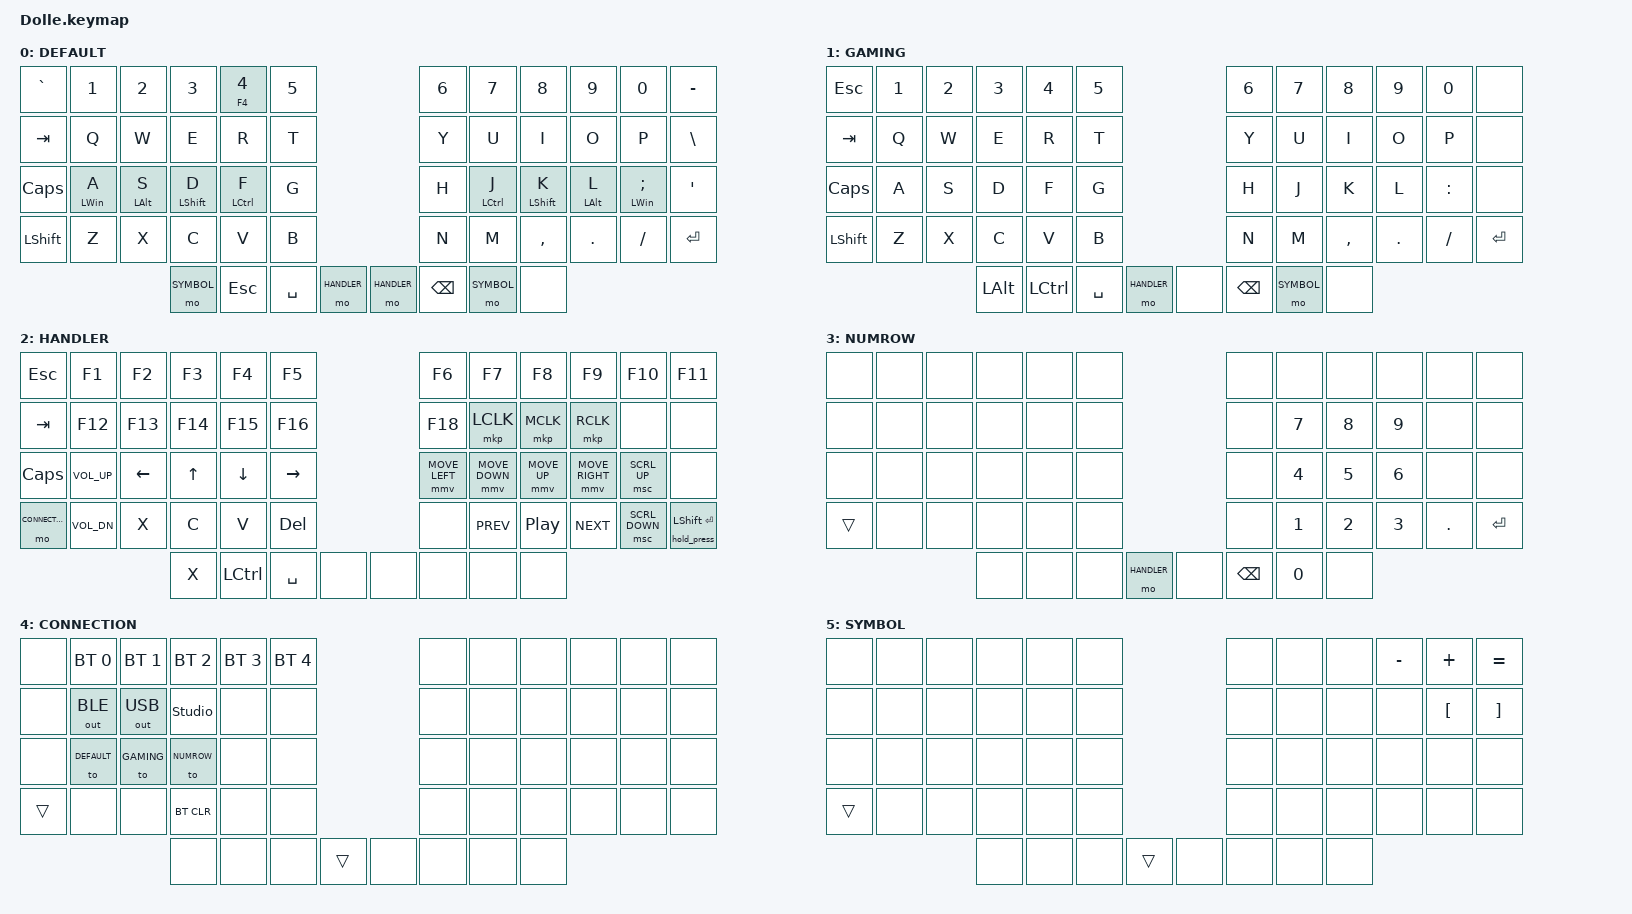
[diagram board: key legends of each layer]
/*
 * Copyright (c) 2022 The ZMK Contributors
 *
 * SPDX-License-Identifier: MIT
 */

#include <behaviors.dtsi>
#include <dt-bindings/zmk/keys.h>
#include <dt-bindings/zmk/bt.h>
#include <dt-bindings/zmk/outputs.h>

#include <dt-bindings/zmk/pointing.h>
#include <dt-bindings/zmk/mouse.h>
#include <behaviors/mouse_keys.dtsi>
#define ZMK_POINTING_DEFAULT_MOVE_VAL 4000  // default: 600
#define ZMK_POINTING_DEFAULT_SCRL_VAL 20    // default: 10

#define DEFAULT 0
#define GAMING 1
#define HANDLER 2
#define NUMROW 3
#define CONNECTION 4
#define SYMBOL 5
&mt {
    tapping-term-ms = <400>;
};
/ {
    behaviors {
        pht: positional_hold_tap {
            compatible = "zmk,behavior-hold-tap";
            #binding-cells = <2>;
            tapping-term-ms = <200>;
            quick-tap-ms = <0>;
            flavor = "tap-preferred";
            bindings = <&kp>, <&kp>;
        };
    };

    keymap {
        compatible = "zmk,keymap";

        DEFAULT {
            bindings = <
&kp GRAVE       &kp N1          &kp N2          &kp N3              &mt F4 N4           &kp N5                                      &kp N6          &kp N7          &kp N8          &kp N9          &kp N0          &kp MINUS
&kp TAB         &kp Q           &kp W           &kp E               &kp R               &kp T                                       &kp Y           &kp U           &kp I           &kp O           &kp P           &kp BSLH
&kp CAPS        &pht LWIN A     &pht LALT S     &pht LSHIFT D       &pht LCTL F         &kp G                                       &kp H           &pht LCTL J     &pht LSHIFT K   &pht LALT L     &pht LWIN SEMI  &kp APOS
&kp LSHIFT      &kp Z           &kp X           &kp C               &kp V               &kp B                                       &kp N           &kp M           &kp COMMA       &kp PERIOD      &kp SLASH       &kp ENTER
                                                &mo SYMBOL          &kp ESC             &kp SPACE       &mo HANDLER     &mo HANDLER &kp BACKSPACE   &mo SYMBOL      &none 


            >;
        };
        
        GAMING {
            bindings = <
&kp ESC         &kp N1          &kp N2          &kp N3              &kp N4              &kp N5                                      &kp N6          &kp N7          &kp N8          &kp N9           &kp N0         &none
&kp TAB         &kp Q           &kp W           &kp E               &kp R               &kp T                                       &kp Y           &kp U           &kp I           &kp O            &kp P          &none
&kp CAPS        &kp A           &kp S           &kp D               &kp F               &kp G                                       &kp H           &kp J           &kp K           &kp L            &kp COLON      &none
&kp LSHIFT      &kp Z           &kp X           &kp C               &kp V               &kp B                                       &kp N           &kp M           &kp COMMA       &kp PERIOD       &kp SLASH      &kp ENTER
                                                &kp LALT            &kp LCTRL           &kp SPACE       &mo HANDLER     &none       &kp BACKSPACE   &mo SYMBOL      &none 
            >;
        };

        HANDLER {
            bindings = <
&kp ESC         &kp F1          &kp F2          &kp F3              &kp F4              &kp F5                                      &kp F6          &kp F7          &kp F8          &kp F9          &kp F10           &kp F11
&kp TAB         &kp F12         &kp F13         &kp F14             &kp F15             &kp F16                                     &kp F18         &mkp LCLK       &mkp MCLK       &mkp RCLK       &none           &none
&kp CAPSLOCK    &kp C_VOL_UP    &kp LEFT_ARROW  &kp UP_ARROW        &kp DOWN_ARROW      &kp RIGHT_ARROW                             &mmv MOVE_LEFT  &mmv MOVE_DOWN  &mmv MOVE_UP    &mmv MOVE_RIGHT &msc SCRL_UP    &none
&mo CONNECTION  &kp C_VOL_DN    &kp X           &kp C               &kp V               &kp DEL                                     &none           &kp C_PREV      &kp C_PP        &kp C_NEXT      &msc SCRL_DOWN  &hold_press LSHIFT ENTER
                                                &kp X               &kp LCTRL           &kp SPACE       &none           &none       &none           &none           &none 
            >;
        };
        NUMROW {
            bindings = <
&none           &none           &none           &none               &none               &none                                       &none           &none            &none            &none            &none           &none
&none           &none           &none           &none               &none               &none                                       &none           &kp N7           &kp N8           &kp N9           &none           &none
&none           &none           &none           &none               &none               &none                                       &none           &kp N4           &kp N5           &kp N6           &none           &none
&trans          &none           &none           &none               &none               &none                                       &none           &kp N1           &kp N2           &kp N3           &kp PERIOD      &kp ENTER
                                                &none               &none               &none           &mo HANDLER     &none       &kp BACKSPACE   &kp N0           &none 
            >; 
        };

        CONNECTION {
            bindings = <
&none           &bt BT_SEL 0    &bt BT_SEL 1    &bt BT_SEL 2        &bt BT_SEL 3        &bt BT_SEL 4                                &none           &none           &none           &none           &none           &none
&none           &out OUT_BLE    &out OUT_USB    &studio_unlock      &none               &none                                       &none           &none           &none           &none           &none           &none
&none           &to DEFAULT     &to GAMING      &to NUMROW          &none               &none                                       &none           &none           &none           &none           &none           &none
&trans          &none           &none           &bt BT_CLR          &none               &none                                       &none           &none           &none           &none           &none           &none
                                                &none               &none               &none           &trans          &none       &none           &none           &none 
            >; 
        };
        SYMBOL {
            bindings = <
&none           &none           &none           &none               &none               &none                                       &none           &none           &none           &kp MINUS       &kp PLUS        &kp EQUAL
&none           &none           &none           &none               &none               &none                                       &none           &none           &none           &none           &kp LBKT        &kp RBKT
&none           &none           &none           &none               &none               &none                                       &none           &none           &none           &none           &none           &none
&trans          &none           &none           &none               &none               &none                                       &none           &none           &none           &none           &none           &none
                                                &none               &none               &none           &trans          &none       &none           &none           &none 
            >; 
        };
    };

    macros {
        alt_f4: alt_f4 {
            compatible = "zmk,behavior-macro";
            #binding-cells = <0>;
            bindings = 
                <&macro_press &kp LALT>,
                <&macro_tap &kp N4>,
                <&macro_release &kp LALT>;
        };
        hold_press: hold_press {
            compatible = "zmk,behavior-macro-two-param";
            #binding-cells = <2>;
            bindings =
                <&macro_param_1to1>,
                <&macro_press &kp MACRO_PLACEHOLDER>,
                <&macro_param_2to1>,
                <&macro_tap &kp MACRO_PLACEHOLDER>,
                <&macro_param_1to1>,
                <&macro_release &kp MACRO_PLACEHOLDER>;
        };
   };
};
